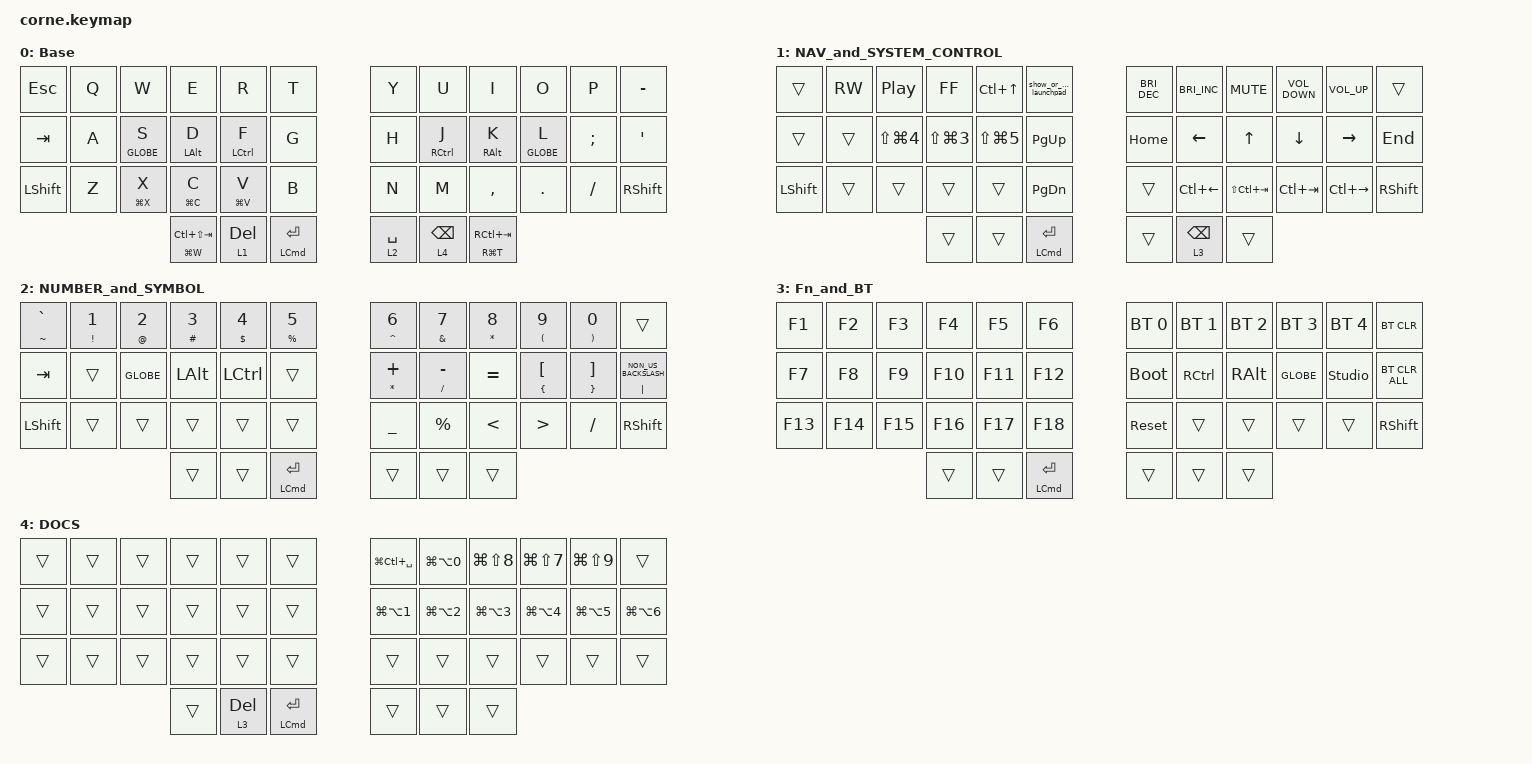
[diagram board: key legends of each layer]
/*
 * Copyright (c) 2020 The ZMK Contributors
 *
 * SPDX-License-Identifier: MIT
 */

#include <behaviors.dtsi>
#include <dt-bindings/zmk/bt.h>
#include <dt-bindings/zmk/keys.h>

/ {
    combos {
        compatible = "zmk,combos";

        Sleep {
            bindings = <&kp LA(LG(C_POWER))>;
            key-positions = <36 38>;
        };

        Reopen_Closed_Tab {
            bindings = <&kp LS(LG(T))>;
            key-positions = <36 41>;
        };

        Volume_Up {
            bindings = <&kp C_VOLUME_UP>;
            key-positions = <41 40>;
        };

        Volume_Down {
            bindings = <&kp C_VOLUME_DOWN>;
            key-positions = <40 39>;
        };

        Mute {
            bindings = <&kp C_MUTE>;
            key-positions = <39 41>;
        };

        Brightness_Up {
            bindings = <&kp C_BRI_UP>;
            key-positions = <38 37>;
        };

        Brightness_Down {
            bindings = <&kp C_BRI_DN>;
            key-positions = <36 37>;
        };

        Full-Screen_Left {
            bindings = <&kp LC(LEFT)>;
            key-positions = <24 36>;
        };

        Full-Screen_Right {
            bindings = <&kp RC(RIGHT)>;
            key-positions = <35 41>;
        };

        Mission_Control {
            bindings = <&kp LC(UP)>;
            key-positions = <24 36 41 35>;
        };

        Caps_Word {
            bindings = <&caps_word>;
            key-positions = <24 35>;
        };
    };

    macros {
        show_or_hide_launchpad: show_or_hide_launchpad {
            compatible = "zmk,behavior-macro";
            #binding-cells = <0>;
            bindings =
                <&macro_press>,
                <&kp GLOBE>,
                <&macro_tap>,
                <&kp LS(A)>,
                <&macro_release>,
                <&kp GLOBE>;

            label = "SHOW_OR_HIDE_LAUNCHPAD";
        };
    };

    behaviors {
        Control_Mod_L: Control_Mod_L {
            compatible = "zmk,behavior-hold-tap";
            label = "CONTROL_MOD_L";
            bindings = <&kp>, <&kp>;

            #binding-cells = <2>;
            tapping-term-ms = <200>;
            quick-tap-ms = <175>;
            flavor = "tap-preferred";
            hold-trigger-key-positions = <36 37 38 6 7 8 9 10 11 18 19 20 21 22 23 30 31 32 33 34 35 39 40 41>;
            hold-trigger-on-release;
        };

        Control_Mod_R: Control_Mod_R {
            compatible = "zmk,behavior-hold-tap";
            label = "CONTROL_MOD_R";
            bindings = <&kp>, <&kp>;

            #binding-cells = <2>;
            tapping-term-ms = <300>;
            quick-tap-ms = <175>;
            flavor = "tap-preferred";
            hold-trigger-key-positions = <0 1 2 3 4 5 12 13 14 15 16 17 24 25 26 27 28 29 36 37 38 39 40 41>;
            hold-trigger-on-release;
        };

        Shift_Caps_Word: Shift_Caps_Word {
            compatible = "zmk,behavior-tap-dance";
            label = "SHIFT_CAPS_WORD";
            #binding-cells = <0>;
            bindings = <&kp LEFT_SHIFT>, <&caps_word>;

            tapping-term-ms = <200>;
        };

        Contro_Mod_Universal: Contro_Mod_Universal {
            compatible = "zmk,behavior-hold-tap";
            label = "CONTRO_MOD_UNIVERSAL";
            bindings = <&kp>, <&kp>;

            #binding-cells = <2>;
            tapping-term-ms = <200>;
            quick-tap-ms = <175>;
            flavor = "tap-preferred";
        };
    };

    keymap {
        compatible = "zmk,keymap";

        default_layer {
            // -----------------------------------------------------------------------------------------
            // |  TAB |  Q  |  W  |  E  |  R  |  T  |   |  Y  |  U   |  I  |  O  |  P  | BKSP |
            // | CTRL |  A  |  S  |  D  |  F  |  G  |   |  H  |  J   |  K  |  L  |  ;  |  '   |
            // | SHFT |  Z  |  X  |  C  |  V  |  B  |   |  N  |  M   |  ,  |  .  |  /  | ESC  |
            //                    | GUI | LWR | SPC |   | ENT | RSE  | ALT |

            display-name = "Base";
            bindings = <
&kp ESC         &kp Q  &kp W                   &kp E                      &kp R                          &kp T                                        &kp Y        &kp U                           &kp I                       &kp O                   &kp P     &kp MINUS
&kp TAB         &kp A  &Control_Mod_L GLOBE S  &Control_Mod_L LEFT_ALT D  &Control_Mod_L LEFT_CONTROL F  &kp G                                        &kp H        &Control_Mod_R RIGHT_CONTROL J  &Control_Mod_R RIGHT_ALT K  &Control_Mod_R GLOBE L  &kp SEMI  &kp SQT
&kp LEFT_SHIFT  &kp Z  &Control_Mod_L LG(X) X  &Control_Mod_L LG(C) C     &Control_Mod_L LG(V) V         &kp B                                        &kp N        &kp M                           &kp COMMA                   &kp DOT                 &kp FSLH  &kp RIGHT_SHIFT
                                               &mt LG(W) LC(LS(TAB))      &lt 1 DEL                      &Contro_Mod_Universal LEFT_COMMAND RETURN    &lt 2 SPACE  &lt 4 BACKSPACE                 &mt RG(T) RC(TAB)
            >;
        };

        NAV_and_SYSTEM_CONTROL {
            // -----------------------------------------------------------------------------------------
            // |  TAB |  1  |  2  |  3  |  4  |  5  |   |  6  |  7  |  8  |  9  |  0  | BKSP |
            // | BTCLR| BT1 | BT2 | BT3 | BT4 | BT5 |   | LFT | DWN |  UP | RGT |     |      |
            // | SHFT |     |     |     |     |     |   |     |     |     |     |     |      |
            //                    | GUI |     | SPC |   | ENT |     | ALT |

            display-name = "NAV_and_SYSTEM_CONTROL";
            bindings = <
&trans          &kp C_RW  &kp C_PP              &kp C_FF              &kp LC(UP_ARROW)      &show_or_hide_launchpad                      &kp C_BRIGHTNESS_DEC  &kp C_BRIGHTNESS_INC  &kp C_MUTE       &kp C_VOLUME_DOWN  &kp C_VOLUME_UP  &trans
&trans          &trans    &kp LS(LG(NUMBER_4))  &kp LS(LG(NUMBER_3))  &kp LS(LG(NUMBER_5))  &kp PG_UP                                    &kp HOME              &kp LEFT              &kp UP           &kp DOWN           &kp RIGHT        &kp END
&kp LEFT_SHIFT  &trans    &trans                &trans                &trans                &kp PG_DN                                    &trans                &kp LC(LEFT)          &kp LS(LC(TAB))  &kp LC(TAB)        &kp LC(RIGHT)    &kp RIGHT_SHIFT
                                                &trans                &trans                &Contro_Mod_Universal LEFT_COMMAND RETURN    &trans                &lt 3 BACKSPACE       &trans
            >;
        };

        NUMBER_and_SYMBOL {
            // -----------------------------------------------------------------------------------------
            // |  TAB |  !  |  @  |  #  |  $  |  %  |   |  ^  |  &  |  *  |  (  |  )  | BKSP |
            // | CTRL |     |     |     |     |     |   |  -  |  =  |  [  |  ]  |  \  |  `   |
            // | SHFT |     |     |     |     |     |   |  _  |  +  |  {  |  }  | "|" |  ~   |
            //                    | GUI |     | SPC |   | ENT |     | ALT |

            display-name = "NUMBER_and_SYMBOL";
            bindings = <
&Control_Mod_L TILDE GRAVE  &Control_Mod_L EXCLAMATION NUMBER_1  &Control_Mod_L AT NUMBER_2  &Control_Mod_L HASH NUMBER_3  &Control_Mod_L DLLR NUMBER_4  &Control_Mod_L PRCNT NUMBER_5                &Control_Mod_R CARET NUMBER_6  &Control_Mod_R AMPS NUMBER_7  &Control_Mod_R ASTRK NUMBER_8  &Control_Mod_R LPAR NUMBER_9            &Control_Mod_R RPAR NUMBER_0              &trans
&kp TAB                     &trans                               &kp GLOBE                   &kp LEFT_ALT                  &kp LEFT_CONTROL              &trans                                       &Control_Mod_R ASTRK PLUS      &Control_Mod_R SLASH MINUS    &kp EQUAL                      &Control_Mod_R LEFT_BRACE LEFT_BRACKET  &Control_Mod_R RIGHT_BRACE RIGHT_BRACKET  &Control_Mod_R PIPE NON_US_BACKSLASH
&kp LEFT_SHIFT              &trans                               &trans                      &trans                        &trans                        &trans                                       &kp UNDER                      &kp PERCENT                   &kp LESS_THAN                  &kp GREATER_THAN                        &kp SLASH                                 &kp RIGHT_SHIFT
                                                                                             &trans                        &trans                        &Contro_Mod_Universal LEFT_COMMAND RETURN    &trans                         &trans                        &trans
            >;
        };

        Fn_and_BT {
            bindings = <
&kp F1   &kp F2   &kp F3   &kp F4   &kp F5   &kp F6                                       &bt BT_SEL 0  &bt BT_SEL 1       &bt BT_SEL 2   &bt BT_SEL 3  &bt BT_SEL 4    &bt BT_CLR
&kp F7   &kp F8   &kp F9   &kp F10  &kp F11  &kp F12                                      &bootloader   &kp RIGHT_CONTROL  &kp RIGHT_ALT  &kp GLOBE     &studio_unlock  &bt BT_CLR_ALL
&kp F13  &kp F14  &kp F15  &kp F16  &kp F17  &kp F18                                      &sys_reset    &trans             &trans         &trans        &trans          &kp RIGHT_SHIFT
                           &trans   &trans   &Contro_Mod_Universal LEFT_COMMAND RETURN    &trans        &trans             &trans
            >;

            label = "Fn_and_BT";
        };

        DOCS {
            bindings = <
&trans  &trans  &trans  &trans  &trans     &trans                                       &kp LG(LC(SPACE))     &kp LG(LA(NUMBER_0))  &kp LG(LS(NUMBER_8))  &kp LG(LS(NUMBER_7))  &kp LG(LS(NUMBER_9))  &trans
&trans  &trans  &trans  &trans  &trans     &trans                                       &kp LG(LA(NUMBER_1))  &kp LG(LA(NUMBER_2))  &kp LG(LA(NUMBER_3))  &kp LG(LA(NUMBER_4))  &kp LG(LA(NUMBER_5))  &kp LG(LA(NUMBER_6))
&trans  &trans  &trans  &trans  &trans     &trans                                       &trans                &trans                &trans                &trans                &trans                &trans
                        &trans  &lt 3 DEL  &Contro_Mod_Universal LEFT_COMMAND RETURN    &trans                &trans                &trans
            >;

            label = "DOCS";
        };
    };

    conditional_layers { compatible = "zmk,conditional-layers"; };
};
